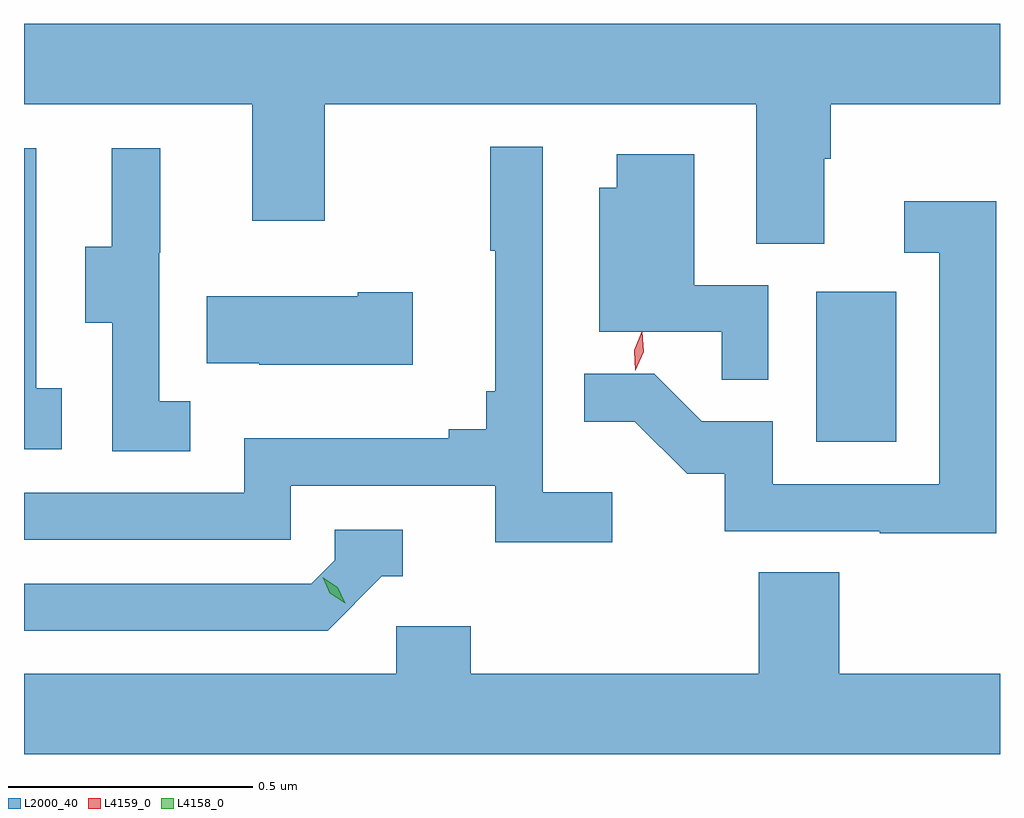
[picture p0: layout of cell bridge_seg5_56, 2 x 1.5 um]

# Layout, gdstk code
import gdstk
lib = gdstk.Library(unit=1e-6, precision=1e-09)
def R(c, l, rs):  # rectangles x0, y0, x1, y1
    for r in rs: c.add(gdstk.rectangle(r[:2], r[2:], *l))
def P(c, l, *ps):  # polygons
    for p in ps: c.add(gdstk.Polygon(p, *l))
L2000_40 = (2000, 40)
L4158_0 = (4158, 0)
L4159_0 = (4159, 0)

bridge_seg5_56 = lib.new_cell('bridge_seg5_56')
R(bridge_seg5_56, L2000_40, [(829.142,901.356,829.306,901.663)])
P(bridge_seg5_56, L2000_40, [(829.159,901.936),(829.172,901.936),(829.172,902.048),(829.519,902.048),(829.519,902.212),(827.519,902.212),(827.519,902.048),(827.987,902.048),(827.987,901.809),(828.135,901.809),(828.135,902.048),(829.019,902.048),(829.019,901.762),(829.159,901.762)],
  [(828.724,901.252),(828.582,901.252),(828.582,901.96),(828.474,901.96),(828.474,901.747),(828.485,901.747),(828.485,901.459),(828.466,901.459),(828.466,901.382),(828.389,901.382),(828.389,901.363),(827.97,901.363),(827.97,901.251),(827.519,901.251),(827.519,901.155),(828.066,901.155),(828.066,901.266),(828.485,901.266),(828.485,901.15),(828.724,901.15)],
  [(827.86,901.439),(827.796,901.439),(827.796,901.743),(827.798,901.743),(827.798,901.957),(827.699,901.957),(827.699,901.755),(827.645,901.755),(827.645,901.6),(827.7,901.6),(827.7,901.336),(827.86,901.336)],
  [(827.596,901.466),(827.544,901.466),(827.544,901.957),(827.519,901.957),(827.519,901.341),(827.596,901.341)],
  [(829.044,901.677),(828.892,901.677),(828.892,901.945),(828.734,901.945),(828.734,901.876),(828.698,901.876),(828.698,901.581),(828.949,901.581),(828.949,901.483),(829.044,901.483)],
  [(829.511,901.849),(829.323,901.849),(829.323,901.743),(829.395,901.743),(829.395,901.269),(829.053,901.269),(829.053,901.398),(828.908,901.398),(828.811,901.495),(828.667,901.495),(828.667,901.397),(828.771,901.397),(828.878,901.29),(828.955,901.29),(828.955,901.173),(829.273,901.173),(829.273,901.168),(829.511,901.168)],
  [(828.316,901.662),(828.203,901.662),(828.203,901.654),(827.893,901.654),(827.893,901.517),(828.001,901.517),(828.001,901.514),(828.316,901.514)],
  [(828.252,901.08),(828.295,901.08),(828.295,901.176),(828.156,901.176),(828.156,901.113),(828.108,901.065),(827.519,901.065),(827.519,900.969),(828.141,900.969)],
  [(829.519,900.88),(829.19,900.88),(829.19,901.088),(829.025,901.088),(829.025,900.88),(828.434,900.88),(828.434,900.978),(828.282,900.978),(828.282,900.88),(827.519,900.88),(827.519,900.716),(829.519,900.716)])
P(bridge_seg5_56, L4158_0, [(828.177,901.025),(828.146,901.045),(828.131,901.078),(828.131,901.078),(828.131,901.078),(828.162,901.058),(828.177,901.025),(828.177,901.025)])
P(bridge_seg5_56, L4159_0, [(828.772,901.501),(828.772,901.501),(828.769,901.543),(828.785,901.581),(828.785,901.581),(828.786,901.581),(828.789,901.54),(828.772,901.501)])

lib.write_gds('bridge_seg5_56.gds')
